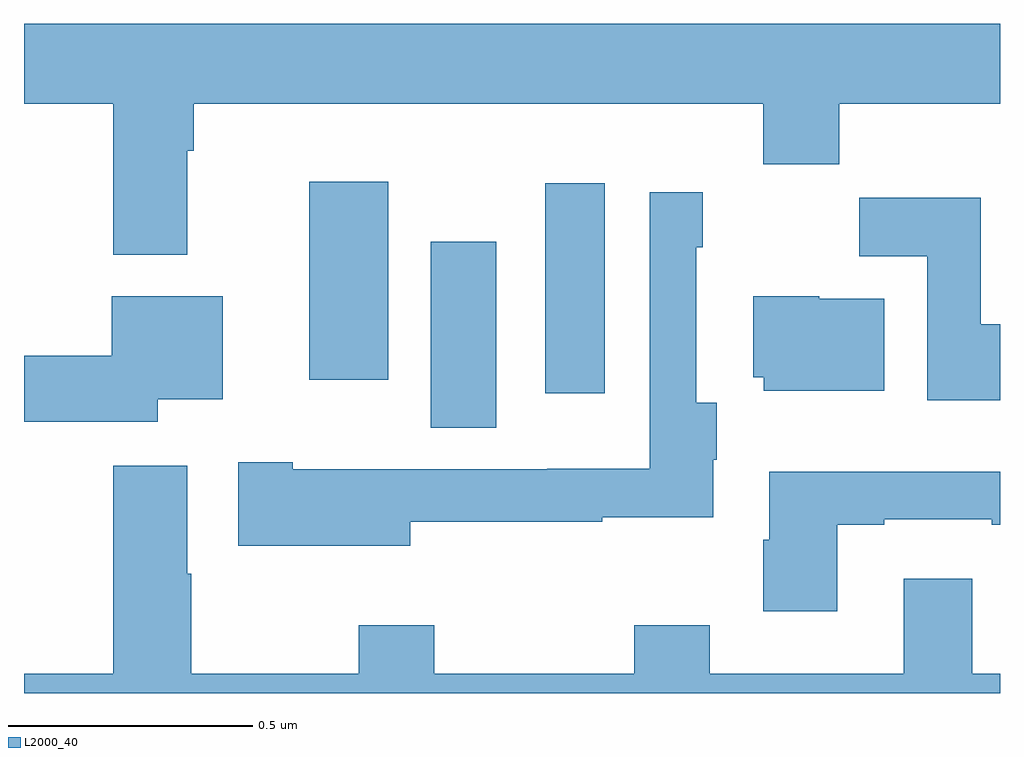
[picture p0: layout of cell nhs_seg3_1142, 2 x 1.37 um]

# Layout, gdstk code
import gdstk
lib = gdstk.Library(unit=1e-6, precision=1e-09)
def R(c, l, rs):  # rectangles x0, y0, x1, y1
    for r in rs: c.add(gdstk.rectangle(r[:2], r[2:], *l))
def P(c, l, *ps):  # polygons
    for p in ps: c.add(gdstk.Polygon(p, *l))
L2000_40 = (2000, 40)

nhs_seg3_1142 = lib.new_cell('nhs_seg3_1142')
R(nhs_seg3_1142, L2000_40, [(125.834,674.944,125.968,675.325), (126.068,675.015,126.19,675.445), (125.585,675.042,125.746,675.448)])
P(nhs_seg3_1142, L2000_40, [(125.335,675.512),(125.348,675.512),(125.348,675.608),(126.515,675.608),(126.515,675.484),(126.671,675.484),(126.671,675.608),(127,675.608),(127,675.772),(125,675.772),(125,675.608),(125.183,675.608),(125.183,675.299),(125.335,675.299)],
  [(125.791,674.751),(126.185,674.751),(126.185,674.761),(126.412,674.761),(126.412,674.879),(126.42,674.879),(126.42,674.995),(126.378,674.995),(126.378,675.314),(126.391,675.314),(126.391,675.427),(126.282,675.427),(126.282,674.86),(126.072,674.86),(126.072,674.859),(125.551,674.859),(125.551,674.873),(125.439,674.873),(125.439,674.702),(125.791,674.702)],
  [(127,675.156),(126.961,675.156),(126.961,675.415),(126.712,675.415),(126.712,675.296),(126.851,675.296),(126.851,675),(127,675)],
  [(126.763,675.208),(126.63,675.208),(126.63,675.214),(126.494,675.214),(126.494,675.048),(126.516,675.048),(126.516,675.02),(126.763,675.02)],
  [(125.274,675.002),(125.407,675.002),(125.407,675.214),(125.18,675.214),(125.18,675.092),(125,675.092),(125,674.956),(125.274,674.956)],
  [(127,674.44),(126.943,674.44),(126.943,674.635),(126.803,674.635),(126.803,674.44),(126.405,674.44),(126.405,674.539),(126.25,674.539),(126.25,674.44),(125.841,674.44),(125.841,674.539),(125.686,674.539),(125.686,674.44),(125.343,674.44),(125.343,674.645),(125.335,674.645),(125.335,674.866),(125.183,674.866),(125.183,674.44),(125,674.44),(125,674.4),(127,674.4)],
  [(126.667,674.745),(126.763,674.745),(126.763,674.757),(126.983,674.757),(126.983,674.745),(127,674.745),(127,674.854),(126.527,674.854),(126.527,674.715),(126.515,674.715),(126.515,674.568),(126.667,674.568)])

lib.write_gds('nhs_seg3_1142.gds')
